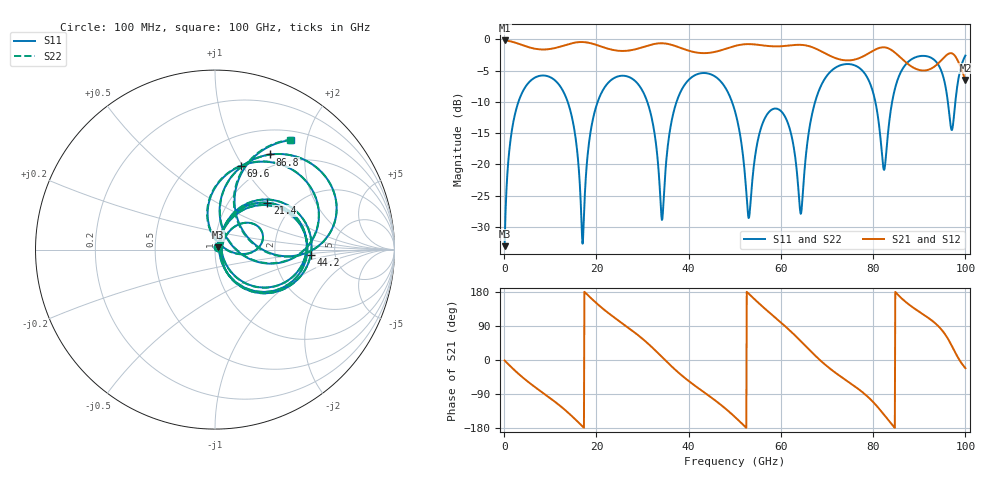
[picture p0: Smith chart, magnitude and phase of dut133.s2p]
! Touchstone file exported from HFSS 2026.1.0
!  File:  C:/ffzhzh/LocalFiles/Ansys_Project_Files/temp_train_TSV_RDL_133_1783640419_33328.aedt
!  Generated:  07:48:37 AM Jul 10, 2026
!  Design:  TSV_RDL
!  Project:  temp_train_TSV_RDL_133_1783640419_33328
! Variables:
!  h_bsmrdl = 3.58um
!  h_ox = 20um
!  h_rdl = 5um
!  h_sub = 55.11um
!  h_tmrdl = 3.83um
!  h_tsv = 55.11um
!  h_via = 3um
!  l_bsmrdl = 541.8um
!  l_sub = 3529.93um
!  l_tmrdl = 351.21um
!  m_sub = 200um
!  pitch = 43.14um
!  r_tsv = 12.81um
!  s_tmrdl = 10um
!  w_bsmrdl = 16.85um
!  w_sub = 500um
!  w_tmrdl = 16.38um
!  x_tsv_center1 = 359.4um
!  x_tsv_center2 = 918.05um
!  x_tsv_center3 = 1285.64um
!  x_tsv_center4 = 1844.29um
!  x_tsv_center5 = 2211.88um
!  x_tsv_center6 = 2770.53um
# GHz S MA R 50.000000
! Terminal data exported
! Port[1] = TM_RDL1_1_T1
! Port[2] = TM_RDL5_1_T1
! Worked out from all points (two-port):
!   1000 points, 100 MHz to 100 GHz, reference 50 ohm
!   highest |S21| = -0.16 dB at 100 MHz (marker M1); lowest = -6.5 dB at 100 GHz (marker M2)
!   |S21| within 3 dB of the highest: start of sweep to 72.58 GHz; 76.31 GHz to 86.32 GHz (10.01 GHz wide, 12.3 % of centre) (the widest 2 of 3)
!   lowest |S11| = -33.1 dB at 100 MHz (marker M3), VSWR 1.05, Z = 51.9 + j1.25 ohm
!   |S11| at or under -10 dB: 13.78 GHz to 20.28 GHz (6.5 GHz wide, 38.2 % of centre); 31.03 GHz to 37.38 GHz (6.344 GHz wide, 18.5 % of centre); 49.4 GHz to 67.42 GHz (18.02 GHz wide, 30.9 % of centre) (the widest 3 of 6)
!   |S22| runs from -33.1 to -2.6 dB; largest |S21 - S12| = 3.1e-12
!   S11 on the Smith chart (normalised r, x): 100 MHz: 1.04, +0.03; 21.4 GHz: 1.49, +0.92; 44.2 GHz: 3.27, -0.26; 69.6 GHz: 0.80, +0.99; 86.8 GHz: 0.82, +1.40; 100 GHz: 0.64, +1.73
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0.1  0.0221 33.0  0.9817 -1.3  0.9817 -1.3  0.0221 33.0
! Gamma 0 0 0 0
! Port Impedance 50 0 50 0
2.4  0.2568 56.1  0.9429 -28.6  0.9429 -28.6  0.2568 56.1
7.9  0.5129 5.6  0.8323 -82.3  0.8323 -82.3  0.5129 5.6
14.1  0.2904 -49.7  0.9202 -141.5  0.9202 -141.5  0.2903 -49.6
16.8  0.0324 -39.2  0.9537 -172.9  0.9537 -172.9  0.03282 -38.4
21.4  0.3919 41.8  0.8686 135.5  0.8686 135.5  0.392 41.6
29.4  0.4213 -26.6  0.853 62.0  0.853 62.0  0.4213 -26.8
33.4  0.09737 -52.4  0.93 17.8  0.93 17.8  0.09694 -53.2
44.2  0.5341 -3.0  0.7796 -92.7  0.7796 -92.7  0.5341 -3.0
50.1  0.2616 -54.0  0.888 -151.0  0.888 -151.0  0.2616 -54.2
53  0.03713 -8.4  0.9178 175.2  0.9178 175.2  0.03638 -8.8
59.4  0.2767 15.0  0.8803 105.3  0.8803 105.3  0.2765 14.9
64.3  0.04013 43.7  0.9054 50.0  0.9054 50.0  0.03774 43.6
66.7  0.2466 98.8  0.8697 20.4  0.8697 20.4  0.2461 99.5
69.6  0.4893 72.6  0.7738 -12.3  0.7738 -12.3  0.4891 73.0
79.1  0.4653 -3.7  0.7771 -100.0  0.7771 -100.0  0.4655 -3.4
82.2  0.09463 17.8  0.8653 -142.1  0.8653 -142.1  0.09652 18.4
83.4  0.2055 82.8  0.8455 -160.4  0.8455 -160.4  0.2064 82.4
86.8  0.6129 59.8  0.6701 155.9  0.6701 155.9  0.613 59.8
95.6  0.4358 -4.7  0.7311 67.8  0.7311 67.8  0.4346 -5.1
97.1  0.1885 36.6  0.7729 36.3  0.7729 36.3  0.1846 36.8
100  0.7427 55.2  0.4737 -21.4  0.4737 -21.4  0.7422 55.5
